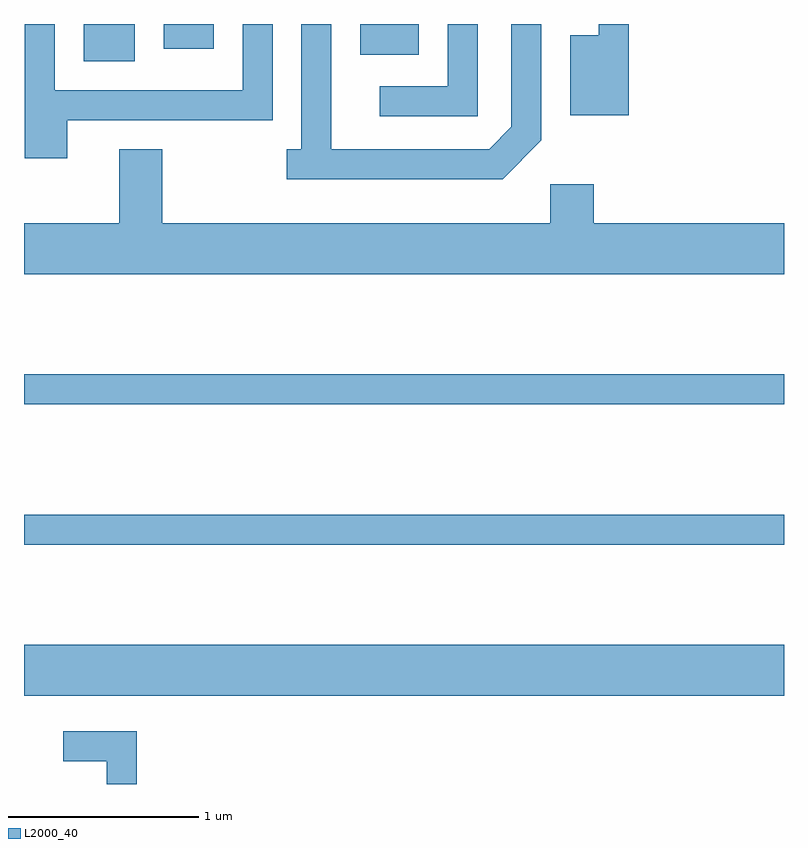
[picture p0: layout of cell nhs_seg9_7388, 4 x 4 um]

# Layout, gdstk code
import gdstk
lib = gdstk.Library(unit=1e-6, precision=1e-09)
def R(c, l, rs):  # rectangles x0, y0, x1, y1
    for r in rs: c.add(gdstk.rectangle(r[:2], r[2:], *l))
def P(c, l, *ps):  # polygons
    for p in ps: c.add(gdstk.Polygon(p, *l))
L2000_40 = (2000, 40)

nhs_seg9_7388 = lib.new_cell('nhs_seg9_7388')
R(nhs_seg9_7388, L2000_40, [(403.611,2022.896,407.611,2023.164), (403.611,2023.691,407.611,2023.849), (403.611,2024.431,407.611,2024.589), (403.926,2026.236,404.194,2026.432), (405.381,2026.271,405.689,2026.432), (404.346,2026.301,404.609,2026.432)])
P(nhs_seg9_7388, L2000_40, [(406.334,2025.819),(406.334,2026.432),(406.176,2026.432),(406.176,2025.892),(406.059,2025.774),(405.229,2025.774),(405.229,2026.432),(405.071,2026.432),(405.071,2025.774),(404.993,2025.774),(404.993,2025.616),(406.132,2025.616)],
  [(406.794,2026.432),(406.636,2026.432),(406.636,2026.374),(406.486,2026.374),(406.486,2025.951),(406.794,2025.951)],
  [(403.839,2025.926),(404.919,2025.926),(404.919,2026.432),(404.761,2026.432),(404.761,2026.084),(403.774,2026.084),(403.774,2026.432),(403.616,2026.432),(403.616,2025.726),(403.839,2025.726)],
  [(405.999,2026.432),(405.841,2026.432),(405.841,2026.104),(405.483,2026.104),(405.483,2025.946),(405.999,2025.946)],
  [(407.611,2025.384),(406.609,2025.384),(406.609,2025.589),(406.381,2025.589),(406.381,2025.384),(404.339,2025.384),(404.339,2025.774),(404.111,2025.774),(404.111,2025.384),(403.611,2025.384),(403.611,2025.116),(407.611,2025.116)],
  [(404.204,2022.709),(403.818,2022.709),(403.818,2022.551),(404.046,2022.551),(404.046,2022.432),(404.204,2022.432)])

lib.write_gds('nhs_seg9_7388.gds')
